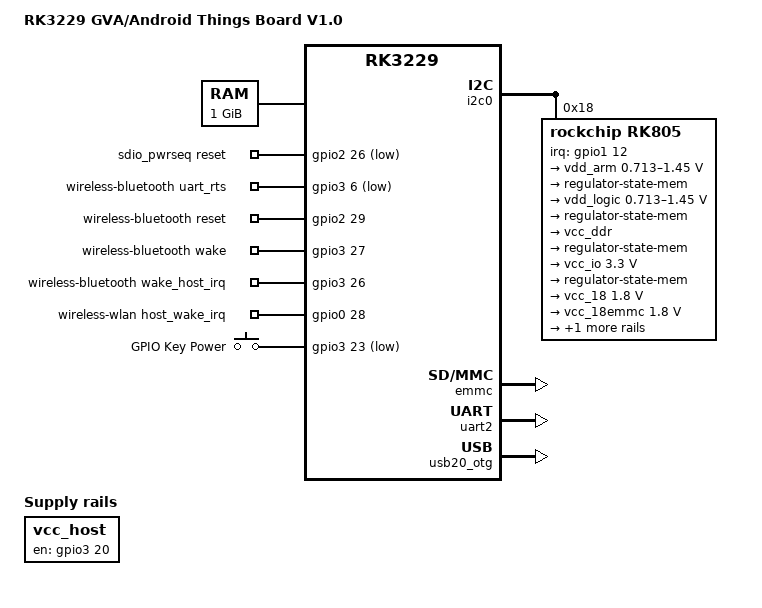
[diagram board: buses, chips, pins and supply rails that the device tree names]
/*
 * Copyright (c) 2017 Fuzhou Rockchip Electronics Co., Ltd
 *
 * SPDX-License-Identifier:     GPL-2.0+ X11
 */

/dts-v1/;

#include "rk322x.dtsi"
#include <dt-bindings/input/input.h>

/ {
	model = "RK3229 GVA/Android Things Board V1.0";
	compatible = "rockchip,rk3229-gva", "rockchip,rk3229";

	chosen {
		stdout-path = &uart2;
	};

	memory@60000000 {
		device_type = "memory";
		reg = <0x60000000 0x40000000>;
	};

	sdio_pwrseq: sdio-pwrseq {
		compatible = "mmc-pwrseq-simple";
		clocks = <&rk805 1>;
		clock-names = "ext_clock";
		pinctrl-names = "default";
		pinctrl-0 = <&wifi_enable_h>;

		/*
		 * On the module itself this is one of these (depending
		 * on the actual card populated):
		 * - SDIO_RESET_L_WL_REG_ON
		 * - PDN (power down when low)
		 */
		reset-gpios = <&gpio2 26 GPIO_ACTIVE_LOW>; /* GPIO2_D2 */
	};

	vcc_host: vcc-host-regulator {
		compatible = "regulator-fixed";
		enable-active-high;
		gpio = <&gpio3 20 GPIO_ACTIVE_HIGH>;
		pinctrl-names = "default";
		pinctrl-0 = <&host_vbus_drv>;
		regulator-name = "vcc_host";
		regulator-always-on;
		regulator-boot-on;
	};

	wireless-bluetooth {
		compatible = "bluetooth-platdata";
		clocks = <&rk805 1>;
		clock-names = "ext_clock";
		uart_rts_gpios = <&gpio3 6 GPIO_ACTIVE_LOW>;
		pinctrl-names = "default", "rts_gpio";
		BT,reset_gpio    = <&gpio2 29 GPIO_ACTIVE_HIGH>;
		BT,wake_gpio     = <&gpio3 27 GPIO_ACTIVE_HIGH>;
		BT,wake_host_irq = <&gpio3 26 GPIO_ACTIVE_HIGH>;
		status = "okay";
	};

	wireless-wlan {
		compatible = "wlan-platdata";
		rockchip,grf = <&grf>;
		wifi_chip_type = "ap6255";
		WIFI,host_wake_irq = <&gpio0 28 GPIO_ACTIVE_HIGH>;
		status = "okay";
	};

	gpio_keys {
		compatible = "gpio-keys";
		#address-cells = <1>;
		#size-cells = <0>;
		autorepeat;

		pinctrl-names = "default";
		pinctrl-0 = <&pwr_key>;

		power_key: power-key {
			label = "GPIO Key Power";
			gpios = <&gpio3 23 GPIO_ACTIVE_LOW>;
			linux,code = <116>;
			debounce-interval = <100>;
			wakeup-source;
		};
	};
};


&i2c0 {
	status = "okay";

	rk805: rk805@18 {
		compatible = "rockchip,rk805";
		status = "okay";
		reg = <0x18>;
		interrupt-parent = <&gpio1>;
		interrupts = <12 IRQ_TYPE_LEVEL_LOW>;
		pinctrl-names = "default";
		pinctrl-0 = <&pmic_int_l>;
		rockchip,system-power-controller;
		wakeup-source;
		gpio-controller;
		#gpio-cells = <2>;
		#clock-cells = <1>;
		clock-output-names = "xin32k", "rk805-clkout2";

		rtc {
			status = "okay";
		};

		pwrkey {
			status = "okay";
		};

		gpio {
			status = "okay";
		};

		regulators {
			compatible = "rk805-regulator";
			status = "okay";
			#address-cells = <1>;
			#size-cells = <0>;

			vdd_arm: RK805_DCDC1@0 {
				regulator-compatible = "RK805_DCDC1";
				regulator-name = "vdd_arm";
				regulator-min-microvolt = <712500>;
				regulator-max-microvolt = <1450000>;
				regulator-initial-mode = <0x1>;
				regulator-ramp-delay = <12500>;
				regulator-boot-on;
				regulator-always-on;
				regulator-state-mem {
					regulator-mode = <0x2>;
					regulator-on-in-suspend;
					regulator-suspend-microvolt = <950000>;
				};
			};

			vdd_logic: RK805_DCDC2@1 {
				regulator-compatible = "RK805_DCDC2";
				regulator-name = "vdd_logic";
				regulator-min-microvolt = <712500>;
				regulator-max-microvolt = <1450000>;
				regulator-initial-mode = <0x1>;
				regulator-ramp-delay = <12500>;
				regulator-boot-on;
				regulator-always-on;
				regulator-state-mem {
					regulator-mode = <0x2>;
					regulator-on-in-suspend;
					regulator-suspend-microvolt = <1000000>;
				};
			};

			vcc_ddr: RK805_DCDC3@2 {
				regulator-compatible = "RK805_DCDC3";
				regulator-name = "vcc_ddr";
				regulator-initial-mode = <0x1>;
				regulator-boot-on;
				regulator-always-on;
				regulator-state-mem {
					regulator-mode = <0x2>;
					regulator-on-in-suspend;
				};
			};

			vcc_io: RK805_DCDC4@3 {
				regulator-compatible = "RK805_DCDC4";
				regulator-name = "vcc_io";
				regulator-min-microvolt = <3300000>;
				regulator-max-microvolt = <3300000>;
				regulator-initial-mode = <0x1>;
				regulator-boot-on;
				regulator-always-on;
				regulator-state-mem {
					regulator-mode = <0x2>;
					regulator-on-in-suspend;
					regulator-suspend-microvolt = <3300000>;
				};
			};

			vcc_18: RK805_LDO1@4 {
				regulator-compatible = "RK805_LDO1";
				regulator-name = "vcc_18";
				regulator-min-microvolt = <1800000>;
				regulator-max-microvolt = <1800000>;
				regulator-boot-on;
				regulator-always-on;
				regulator-state-mem {
					regulator-on-in-suspend;
					regulator-suspend-microvolt = <1800000>;
				};
			};

			vcc_18emmc: RK805_LDO2@5 {
				regulator-compatible = "RK805_LDO2";
				regulator-name = "vcc_18emmc";
				regulator-min-microvolt = <1800000>;
				regulator-max-microvolt = <1800000>;
				regulator-boot-on;
				regulator-always-on;
				regulator-state-mem {
					regulator-on-in-suspend;
					regulator-suspend-microvolt = <1800000>;
				};
			};

			vdd_10: RK805_LDO3@6 {
				regulator-compatible = "RK805_LDO3";
				regulator-name = "vdd_10";
				regulator-min-microvolt = <1000000>;
				regulator-max-microvolt = <1000000>;
				regulator-boot-on;
				regulator-always-on;
				regulator-state-mem {
					regulator-on-in-suspend;
					regulator-suspend-microvolt = <1000000>;
				};
			};
		};
	};
};

&cpu0 {
	cpu-supply = <&vdd_arm>;
};

&pinctrl {
	pmic {
		pmic_int_l: pmic-int-l {
			rockchip,pins = <1 12 RK_FUNC_GPIO &pcfg_pull_up>; /* gpio1_b4 */
		};
	};

	sdio-pwrseq {
		wifi_enable_h: wifi-enable-h {
			rockchip,pins = <2 26 RK_FUNC_GPIO &pcfg_pull_none>;
		};
	};

	usb {
		host_vbus_drv: host-vbus-drv {
			rockchip,pins = <3 20 RK_FUNC_GPIO &pcfg_pull_none>;
		};
	};

	keys {
		pwr_key: pwr-key {
			rockchip,pins = <3 23 RK_FUNC_GPIO &pcfg_pull_up>;
		};
	};
};

&dmc {
	rockchip,pctl-timing = <0x96 0xC8 0x1F3 0xF 0x8000004D 0x4 0x4E 0x6 0x3
		0x0 0x6 0x5 0xC 0x10 0x6 0x4 0x4
		0x5 0x4 0x200 0x3 0xA 0x40 0x0 0x1
		0x5 0x5 0x3 0xC 0x1E 0x100 0x0 0x4
		0x0 0x924>;
	rockchip,phy-timing = <0x220 0x1 0x0 0x0 0x0 0x4 0x60>;
	rockchip,sdram-params = <0x428B188 0x0 0x21 0x472 0x15
		0 300 3 0 120>;
};

&emmc {
	u-boot,dm-pre-reloc;
	status = "okay";
};

&uart2 {
	u-boot,dm-pre-reloc;
	status = "okay";
};

&usb20_otg {
       status = "okay";
};
